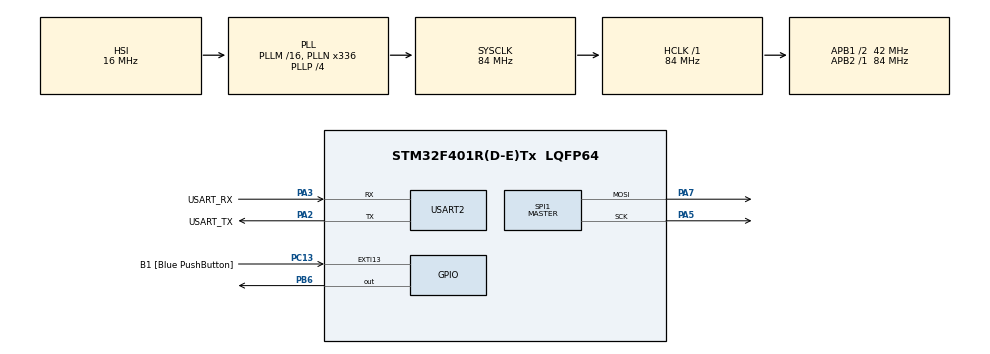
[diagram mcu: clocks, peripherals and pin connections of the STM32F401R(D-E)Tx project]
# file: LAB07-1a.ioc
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Dma.Request0=SPI1_TX
Dma.SPI1_TX.0.Direction=DMA_MEMORY_TO_PERIPH
Dma.SPI1_TX.0.FIFOMode=DMA_FIFOMODE_DISABLE
Dma.SPI1_TX.0.Instance=DMA2_Stream3
Dma.SPI1_TX.0.MemDataAlignment=DMA_MDATAALIGN_BYTE
Dma.SPI1_TX.0.MemInc=DMA_MINC_ENABLE
Dma.SPI1_TX.0.Mode=DMA_NORMAL
Dma.SPI1_TX.0.PeriphDataAlignment=DMA_PDATAALIGN_BYTE
Dma.SPI1_TX.0.PeriphInc=DMA_PINC_DISABLE
Dma.SPI1_TX.0.Priority=DMA_PRIORITY_LOW
Mcu.Family=STM32F4
Mcu.Name=STM32F401R(D-E)Tx
Mcu.Package=LQFP64
NVIC.DMA2_Stream3_IRQn=true\:0\:0\:false\:false\:true\:false\:true\:true
NVIC.PriorityGroup=NVIC_PRIORITYGROUP_4
NVIC.TIM2_IRQn=true\:0\:0\:false\:false\:true\:true\:true\:true
NVIC.TIM3_IRQn=true\:1\:0\:false\:false\:true\:true\:true\:true
PA13.GPIO_Label=TMS
PA13.Mode=Trace_Asynchronous_SW
PA13.Signal=SYS_JTMS-SWDIO
PA14.GPIO_Label=TCK
PA14.Mode=Trace_Asynchronous_SW
PA14.Signal=SYS_JTCK-SWCLK
PA2.GPIO_Label=USART_TX
PA2.GPIO_Mode=GPIO_MODE_AF_PP
PA2.GPIO_PuPd=GPIO_NOPULL
PA2.GPIO_Speed=GPIO_SPEED_FREQ_LOW
PA2.Mode=Asynchronous
PA2.Signal=USART2_TX
PA3.GPIO_Label=USART_RX
PA3.GPIO_Mode=GPIO_MODE_AF_PP
PA3.GPIO_PuPd=GPIO_NOPULL
PA3.GPIO_Speed=GPIO_SPEED_FREQ_LOW
PA3.Mode=Asynchronous
PA3.Signal=USART2_RX
PA5.Mode=TX_Only_Simplex_Unidirect_Master
PA5.Signal=SPI1_SCK
PA7.Mode=TX_Only_Simplex_Unidirect_Master
PA7.Signal=SPI1_MOSI
PB3.GPIO_Label=SWO
PB3.Mode=Trace_Asynchronous_SW
PB3.Signal=SYS_JTDO-SWO
PB6.Signal=GPIO_Output
PC13-ANTI_TAMP.GPIO_Label=B1 [Blue PushButton]
PC13-ANTI_TAMP.GPIO_ModeDefaultEXTI=GPIO_MODE_IT_FALLING
PC13-ANTI_TAMP.GPIO_PuPd=GPIO_NOPULL
PC13-ANTI_TAMP.Signal=GPXTI13
PC14-OSC32_IN.Mode=LSE-External-Oscillator
PC14-OSC32_IN.Signal=RCC_OSC32_IN
PC15-OSC32_OUT.Mode=LSE-External-Oscillator
PC15-OSC32_OUT.Signal=RCC_OSC32_OUT
PH0\ -\ OSC_IN.Mode=HSE-External-Clock-Source
PH0\ -\ OSC_IN.Signal=RCC_OSC_IN
PH1\ -\ OSC_OUT.Mode=HSE-External-Clock-Source
PH1\ -\ OSC_OUT.Signal=RCC_OSC_OUT
ProjectManager.HeapSize=0x200
ProjectManager.StackSize=0x400
ProjectManager.TargetToolchain=STM32CubeIDE
RCC.48MHZClocksFreq_Value=48000000
RCC.AHBFreq_Value=84000000
RCC.APB1CLKDivider=RCC_HCLK_DIV2
RCC.APB1Freq_Value=42000000
RCC.APB1TimFreq_Value=84000000
RCC.APB2Freq_Value=84000000
RCC.APB2TimFreq_Value=84000000
RCC.CortexFreq_Value=84000000
RCC.HCLKFreq_Value=84000000
RCC.HSE_VALUE=8000000
RCC.HSI_VALUE=16000000
RCC.PLLN=336
RCC.PLLP=RCC_PLLP_DIV4
RCC.PLLQ=7
RCC.SYSCLKFreq_VALUE=84000000
RCC.SYSCLKSource=RCC_SYSCLKSOURCE_PLLCLK
RCC.VCOOutputFreq_Value=336000000
SPI1.BaudRatePrescaler=SPI_BAUDRATEPRESCALER_4
SPI1.Direction=SPI_DIRECTION_2LINES
SPI1.Mode=SPI_MODE_MASTER
SPI1.VirtualType=VM_MASTER
TIM2.Period=399
TIM2.Prescaler=839
TIM3.Period=9999
TIM3.Prescaler=8399
USART2.VirtualMode=VM_ASYNC
VP_TIM2_VS_ClockSourceINT.Mode=Internal
VP_TIM3_VS_ClockSourceINT.Mode=Internal
board=NUCLEO-F401RE

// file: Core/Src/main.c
/* USER CODE BEGIN Header */
/**
  ******************************************************************************
  * @file           : main.c
  * @brief          : Main program body
  ******************************************************************************
  * @attention
  *
  * Copyright (c) 2026 STMicroelectronics.
  * All rights reserved.
  *
  * This software is licensed under terms that can be found in the LICENSE file
  * in the root directory of this software component.
  * If no LICENSE file comes with this software, it is provided AS-IS.
  *
  ******************************************************************************
  */
/* USER CODE END Header */
#include "main.h"

SPI_HandleTypeDef hspi1;
DMA_HandleTypeDef hdma_spi1_tx;

TIM_HandleTypeDef htim2;
TIM_HandleTypeDef htim3;

UART_HandleTypeDef huart2;

/* USER CODE BEGIN PV */

// 5-column pattern for the letter 'D'
const uint8_t letter_D[5][2] = {
    {127, 16}, {65, 8}, {65, 4}, {65, 2}, {62, 1}
};

// 5-column pattern for the letter 'T'
const uint8_t letter_T[5][2] = {
    {64, 16}, {64, 8}, {127, 4}, {64, 2}, {64, 1}
};

// SPI buffer and column index
uint8_t current_column = 0;
uint8_t tx_buffer[2];

// Current shown letter
const uint8_t (* volatile active_letter)[2];
uint8_t current_letter = 0;

/* USER CODE END PV */

void SystemClock_Config(void);
static void MX_GPIO_Init(void);
static void MX_DMA_Init(void);
static void MX_USART2_UART_Init(void);
static void MX_SPI1_Init(void);
static void MX_TIM2_Init(void);
static void MX_TIM3_Init(void);

int main(void)
{

  /* MCU Configuration--------------------------------------------------------*/

  /* Reset of all peripherals, Initializes the Flash interface and the Systick. */
  HAL_Init();

  /* Configure the system clock */
  SystemClock_Config();

  /* Initialize all configured peripherals */
  MX_GPIO_Init();
  MX_DMA_Init();
  MX_USART2_UART_Init();
  MX_SPI1_Init();
  MX_TIM2_Init();
  MX_TIM3_Init();
  /* USER CODE BEGIN 2 */

  // Set the initial pointer target before starting the timer
  active_letter = letter_D;

  // Start the multiplexing timer in interrupt mode (4ms)
  HAL_TIM_Base_Start_IT(&htim2);

  // Start the letter-swapping timer in interrupt mode (1000 ms)
  HAL_TIM_Base_Start_IT(&htim3);

  /* USER CODE END 2 */

  /* Infinite loop */
  while (1)
  {

  }
}

void SystemClock_Config(void)
{
  RCC_OscInitTypeDef RCC_OscInitStruct = {0};
  RCC_ClkInitTypeDef RCC_ClkInitStruct = {0};

  /** Configure the main internal regulator output voltage
  */
  __HAL_RCC_PWR_CLK_ENABLE();
  __HAL_PWR_VOLTAGESCALING_CONFIG(PWR_REGULATOR_VOLTAGE_SCALE2);

  /** Initializes the RCC Oscillators according to the specified parameters
  * in the RCC_OscInitTypeDef structure.
  */
  RCC_OscInitStruct.OscillatorType = RCC_OSCILLATORTYPE_HSI;
  RCC_OscInitStruct.HSIState = RCC_HSI_ON;
  RCC_OscInitStruct.HSICalibrationValue = RCC_HSICALIBRATION_DEFAULT;
  RCC_OscInitStruct.PLL.PLLState = RCC_PLL_ON;
  RCC_OscInitStruct.PLL.PLLSource = RCC_PLLSOURCE_HSI;
  RCC_OscInitStruct.PLL.PLLM = 16;
  RCC_OscInitStruct.PLL.PLLN = 336;
  RCC_OscInitStruct.PLL.PLLP = RCC_PLLP_DIV4;
  RCC_OscInitStruct.PLL.PLLQ = 7;
  if (HAL_RCC_OscConfig(&RCC_OscInitStruct) != HAL_OK)
  {
    Error_Handler();
  }

  /** Initializes the CPU, AHB and APB buses clocks
  */
  RCC_ClkInitStruct.ClockType = RCC_CLOCKTYPE_HCLK|RCC_CLOCKTYPE_SYSCLK
                              |RCC_CLOCKTYPE_PCLK1|RCC_CLOCKTYPE_PCLK2;
  RCC_ClkInitStruct.SYSCLKSource = RCC_SYSCLKSOURCE_PLLCLK;
  RCC_ClkInitStruct.AHBCLKDivider = RCC_SYSCLK_DIV1;
  RCC_ClkInitStruct.APB1CLKDivider = RCC_HCLK_DIV2;
  RCC_ClkInitStruct.APB2CLKDivider = RCC_HCLK_DIV1;

  if (HAL_RCC_ClockConfig(&RCC_ClkInitStruct, FLASH_LATENCY_2) != HAL_OK)
  {
    Error_Handler();
  }
}

static void MX_SPI1_Init(void)
{

  /* SPI1 parameter configuration*/
  hspi1.Instance = SPI1;
  hspi1.Init.Mode = SPI_MODE_MASTER;
  hspi1.Init.Direction = SPI_DIRECTION_2LINES;
  hspi1.Init.DataSize = SPI_DATASIZE_8BIT;
  hspi1.Init.CLKPolarity = SPI_POLARITY_LOW;
  hspi1.Init.CLKPhase = SPI_PHASE_1EDGE;
  hspi1.Init.NSS = SPI_NSS_SOFT;
  hspi1.Init.BaudRatePrescaler = SPI_BAUDRATEPRESCALER_4;
  hspi1.Init.FirstBit = SPI_FIRSTBIT_MSB;
  hspi1.Init.TIMode = SPI_TIMODE_DISABLE;
  hspi1.Init.CRCCalculation = SPI_CRCCALCULATION_DISABLE;
  hspi1.Init.CRCPolynomial = 10;
  if (HAL_SPI_Init(&hspi1) != HAL_OK)
  {
    Error_Handler();
  }

}

static void MX_TIM2_Init(void)
{

  TIM_ClockConfigTypeDef sClockSourceConfig = {0};
  TIM_MasterConfigTypeDef sMasterConfig = {0};

  htim2.Instance = TIM2;
  htim2.Init.Prescaler = 839;
  htim2.Init.CounterMode = TIM_COUNTERMODE_UP;
  htim2.Init.Period = 399;
  htim2.Init.ClockDivision = TIM_CLOCKDIVISION_DIV1;
  htim2.Init.AutoReloadPreload = TIM_AUTORELOAD_PRELOAD_DISABLE;
  if (HAL_TIM_Base_Init(&htim2) != HAL_OK)
  {
    Error_Handler();
  }
  sClockSourceConfig.ClockSource = TIM_CLOCKSOURCE_INTERNAL;
  if (HAL_TIM_ConfigClockSource(&htim2, &sClockSourceConfig) != HAL_OK)
  {
    Error_Handler();
  }
  sMasterConfig.MasterOutputTrigger = TIM_TRGO_RESET;
  sMasterConfig.MasterSlaveMode = TIM_MASTERSLAVEMODE_DISABLE;
  if (HAL_TIMEx_MasterConfigSynchronization(&htim2, &sMasterConfig) != HAL_OK)
  {
    Error_Handler();
  }

}

static void MX_TIM3_Init(void)
{

  TIM_ClockConfigTypeDef sClockSourceConfig = {0};
  TIM_MasterConfigTypeDef sMasterConfig = {0};

  htim3.Instance = TIM3;
  htim3.Init.Prescaler = 8399;
  htim3.Init.CounterMode = TIM_COUNTERMODE_UP;
  htim3.Init.Period = 9999;
  htim3.Init.ClockDivision = TIM_CLOCKDIVISION_DIV1;
  htim3.Init.AutoReloadPreload = TIM_AUTORELOAD_PRELOAD_DISABLE;
  if (HAL_TIM_Base_Init(&htim3) != HAL_OK)
  {
    Error_Handler();
  }
  sClockSourceConfig.ClockSource = TIM_CLOCKSOURCE_INTERNAL;
  if (HAL_TIM_ConfigClockSource(&htim3, &sClockSourceConfig) != HAL_OK)
  {
    Error_Handler();
  }
  sMasterConfig.MasterOutputTrigger = TIM_TRGO_RESET;
  sMasterConfig.MasterSlaveMode = TIM_MASTERSLAVEMODE_DISABLE;
  if (HAL_TIMEx_MasterConfigSynchronization(&htim3, &sMasterConfig) != HAL_OK)
  {
    Error_Handler();
  }

}

static void MX_USART2_UART_Init(void)
{

  huart2.Instance = USART2;
  huart2.Init.BaudRate = 115200;
  huart2.Init.WordLength = UART_WORDLENGTH_8B;
  huart2.Init.StopBits = UART_STOPBITS_1;
  huart2.Init.Parity = UART_PARITY_NONE;
  huart2.Init.Mode = UART_MODE_TX_RX;
  huart2.Init.HwFlowCtl = UART_HWCONTROL_NONE;
  huart2.Init.OverSampling = UART_OVERSAMPLING_16;
  if (HAL_UART_Init(&huart2) != HAL_OK)
  {
    Error_Handler();
  }

}

static void MX_DMA_Init(void)
{

  /* DMA controller clock enable */
  __HAL_RCC_DMA2_CLK_ENABLE();

  /* DMA interrupt init */
  /* DMA2_Stream3_IRQn interrupt configuration */
  HAL_NVIC_SetPriority(DMA2_Stream3_IRQn, 0, 0);
  HAL_NVIC_EnableIRQ(DMA2_Stream3_IRQn);

}

static void MX_GPIO_Init(void)
{
  GPIO_InitTypeDef GPIO_InitStruct = {0};

  /* GPIO Ports Clock Enable */
  __HAL_RCC_GPIOC_CLK_ENABLE();
  __HAL_RCC_GPIOH_CLK_ENABLE();
  __HAL_RCC_GPIOA_CLK_ENABLE();
  __HAL_RCC_GPIOB_CLK_ENABLE();

  /*Configure GPIO pin Output Level */
  HAL_GPIO_WritePin(GPIOB, GPIO_PIN_6, GPIO_PIN_RESET);

  /*Configure GPIO pin : B1_Pin */
  GPIO_InitStruct.Pin = B1_Pin;
  GPIO_InitStruct.Mode = GPIO_MODE_IT_FALLING;
  GPIO_InitStruct.Pull = GPIO_NOPULL;
  HAL_GPIO_Init(B1_GPIO_Port, &GPIO_InitStruct);

  /*Configure GPIO pin : PB6 */
  GPIO_InitStruct.Pin = GPIO_PIN_6;
  GPIO_InitStruct.Mode = GPIO_MODE_OUTPUT_PP;
  GPIO_InitStruct.Pull = GPIO_NOPULL;
  GPIO_InitStruct.Speed = GPIO_SPEED_FREQ_LOW;
  HAL_GPIO_Init(GPIOB, &GPIO_InitStruct);

}

/* USER CODE BEGIN 4 */

// This function is automatically called when a Timer Period elapses
void HAL_TIM_PeriodElapsedCallback(TIM_HandleTypeDef *htim)
{
  if (htim->Instance == TIM2) {

    // Load the buffer
    tx_buffer[0] = active_letter[current_column][0];
    tx_buffer[1] = active_letter[current_column][1];

    // Pull the RCLK pin LOW so that the data will be latched on the rising edge
    HAL_GPIO_WritePin(GPIOB, GPIO_PIN_6, GPIO_PIN_RESET);

    // Start the DMA transmission
    HAL_SPI_Transmit_DMA(&hspi1, tx_buffer, 2);

  } else if (htim->Instance == TIM3) {

    // Change letter
    current_letter = !current_letter;
    active_letter = current_letter == 0 ? letter_D : letter_T;
  }
}

// This function is automatically called when the SPI transmission is complete
void HAL_SPI_TxCpltCallback(SPI_HandleTypeDef *hspi)
{
  if (hspi->Instance == SPI1) {

    // Pull the RCLK pin HIGH to latch the data from the shift registers
    HAL_GPIO_WritePin(GPIOB, GPIO_PIN_6, GPIO_PIN_SET);

    // Increment the column index for the next timer interrupt.
    current_column++;
    if (current_column >= 5) current_column = 0;
  }
}

/* USER CODE END 4 */

void Error_Handler(void)
{
  __disable_irq();
  while (1)
  {
  }
}
